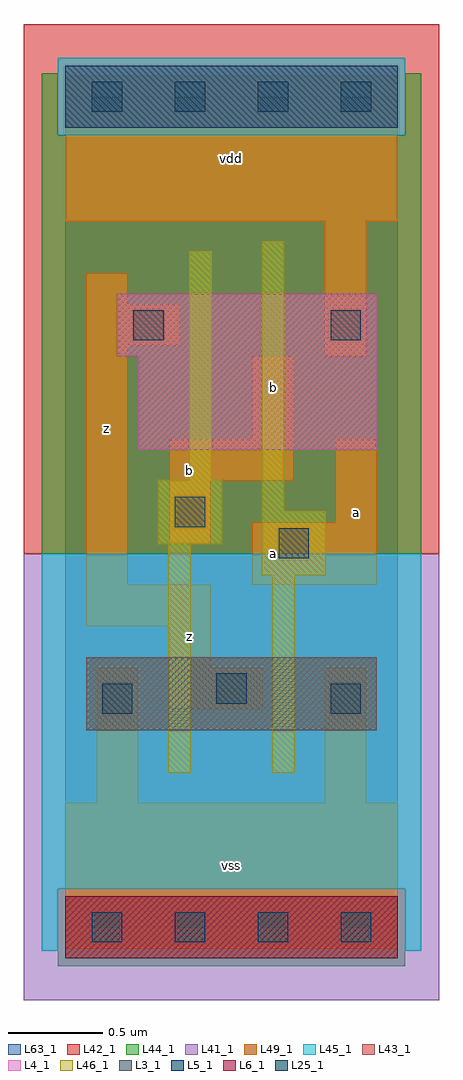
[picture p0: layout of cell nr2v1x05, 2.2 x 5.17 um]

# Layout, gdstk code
import gdstk
lib = gdstk.Library(unit=1e-6, precision=1e-09)
def R(c, l, rs):  # rectangles x0, y0, x1, y1
    for r in rs: c.add(gdstk.rectangle(r[:2], r[2:], *l))
def A(c, l, x, y, w, h, nx, ny, dx, dy):  # array of equal rectangles
    R(c, l, [(x+i*dx, y+j*dy, x+i*dx+w, y+j*dy+h) for i in range(nx) for j in range(ny)])
L3_1 = (3, 1)
L4_1 = (4, 1)
L5_1 = (5, 1)
L6_1 = (6, 1)
L25_1 = (25, 1)
L41_1 = (41, 1)
L42_1 = (42, 1)
L43_1 = (43, 1)
L44_1 = (44, 1)
L45_1 = (45, 1)
L46_1 = (46, 1)
L49_1 = (49, 1)
L63_1 = (63, 1)

nr2v1x05 = lib.new_cell('nr2v1x05')
R(nr2v1x05, L3_1, [(0.11,1.045,1.65,1.43)])
R(nr2v1x05, L4_1, [(0.385,2.53,1.65,3.025), (0.275,3.025,1.65,3.355)])
R(nr2v1x05, L5_1, [(0,4.235,1.76,4.565)])
R(nr2v1x05, L6_1, [(0,-0.165,1.76,0.165)])
A(nr2v1x05, L25_1, 0.14, -0.08, 0.16, 0.16, 4, 2, 0.44, 4.4)
R(nr2v1x05, L25_1, [(0.195,1.13,0.355,1.29), (1.405,1.13,1.565,1.29), (0.8,1.185,0.96,1.345), (1.13,1.955,1.29,2.115), (0.58,2.12,0.74,2.28), (0.36,3.11,0.52,3.27), (1.405,3.11,1.565,3.27)])
R(nr2v1x05, L41_1, [(-0.22,-0.385,1.98,1.98)])
R(nr2v1x05, L42_1, [(-0.22,1.98,1.98,4.785)])
R(nr2v1x05, L43_1, [(0,-0.165,1.76,0.165), (0.11,1.045,1.65,1.43), (0.385,2.53,1.65,3.025), (0.275,3.025,1.65,3.355), (0,4.235,1.76,4.565)])
R(nr2v1x05, L44_1, [(-0.04,-0.205,1.8,0.205), (-0.125,1.98,1.885,4.195), (-0.125,4.195,-0.04,4.525), (1.8,4.195,1.885,4.525)])
R(nr2v1x05, L45_1, [(-0.125,-0.125,-0.04,0.205), (1.8,-0.125,1.885,0.205), (-0.125,0.205,1.885,1.98), (-0.04,4.195,1.8,4.605)])
R(nr2v1x05, L46_1, [(0.545,0.82,0.665,2.03), (1.095,0.82,1.215,1.865), (1.04,1.865,1.38,2.205), (0.49,2.03,0.83,2.37), (1.04,2.205,1.16,3.635), (0.655,2.37,0.775,3.58)])
R(nr2v1x05, L49_1, [(0,-0.11,1.76,0.66), (0.165,0.66,0.385,1.375), (1.375,0.66,1.595,1.375), (0.55,1.155,1.045,1.375), (0.55,1.375,0.77,1.595), (0.11,1.595,0.77,1.815), (0.11,1.815,0.33,3.08), (0.99,1.815,1.65,2.145), (0.55,2.035,0.77,2.365), (1.43,2.145,1.65,2.585), (0.55,2.365,1.21,2.585), (0.99,2.585,1.21,3.025), (1.375,3.025,1.595,3.74), (0.11,3.08,0.605,3.3), (0.11,3.3,0.33,3.465), (0,3.74,1.76,4.51)])
R(nr2v1x05, L63_1, [(0,0,1.76,4.4)])
nr2v1x05.add(gdstk.Label('z', (0.22,2.64), layer=49, texttype=1))
nr2v1x05.add(gdstk.Label('z', (0.66,1.54), layer=49, texttype=1))
nr2v1x05.add(gdstk.Label('b', (0.66,2.42), layer=49, texttype=1))
nr2v1x05.add(gdstk.Label('vss', (0.88,0.33), layer=49, texttype=1))
nr2v1x05.add(gdstk.Label('a', (1.1,1.98), layer=49, texttype=1))
nr2v1x05.add(gdstk.Label('b', (1.1,2.86), layer=49, texttype=1))
nr2v1x05.add(gdstk.Label('vdd', (0.88,4.07), layer=49, texttype=1))
nr2v1x05.add(gdstk.Label('a', (1.54,2.2), layer=49, texttype=1))

lib.write_gds('nr2v1x05.gds')
